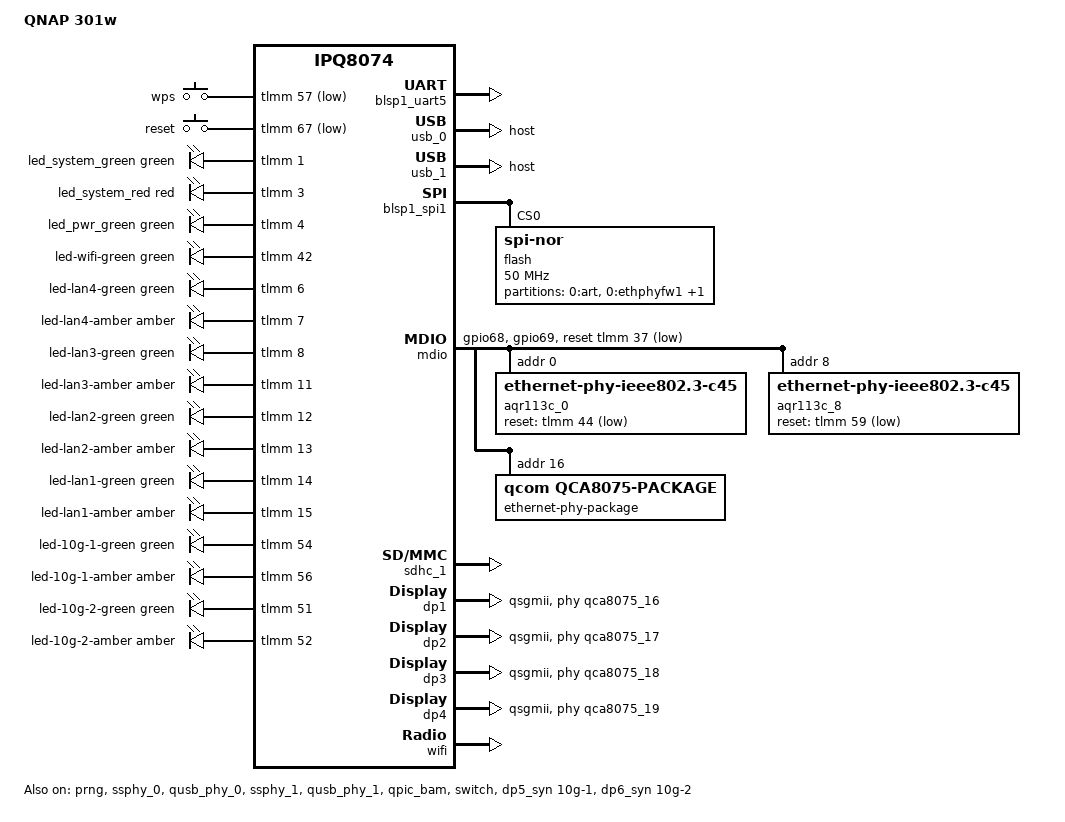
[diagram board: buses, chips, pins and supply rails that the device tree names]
// SPDX-License-Identifier: GPL-2.0-or-later OR MIT
/* Copyright (c) 2021, Dirk Buchwalder <buchwalder@posteo.de> */

/dts-v1/;

#include "ipq8074.dtsi"
#include "ipq8074-ess.dtsi"
#include "ipq8074-nss.dtsi"
#include "ipq8074-common.dtsi"
#include "ipq8074-hk-cpu.dtsi"

#include <dt-bindings/gpio/gpio.h>
#include <dt-bindings/input/input.h>
#include <dt-bindings/leds/common.h>

/ {
	model = "QNAP 301w";
	compatible = "qnap,301w", "qcom,ipq8074";

	aliases {
		ethernet0 = &dp1;
		ethernet1 = &dp2;
		ethernet2 = &dp3;
		ethernet3 = &dp4;
		ethernet4 = &dp5_syn;
		ethernet5 = &dp6_syn;

		label-mac-device = &dp1;
		serial0 = &blsp1_uart5;

		led-boot = &led_system_red;
		led-failsafe = &led_system_red;
		led-running = &led_pwr_green;
		led-upgrade = &led_system_red;
	};

	chosen {
		stdout-path = "serial0:115200n8";
	};

	keys {
		compatible = "gpio-keys";

		wps-button {
			label = "wps";
			gpios = <&tlmm 57 GPIO_ACTIVE_LOW>;
			linux,code = <KEY_WPS_BUTTON>;
		};

		reset-button {
			label = "reset";
			gpios = <&tlmm 67 GPIO_ACTIVE_LOW>;
			linux,code = <KEY_RESTART>;
		};
	};

	leds {
		compatible = "gpio-leds";

		led_system_green: led-system-green {
			gpios = <&tlmm 1 GPIO_ACTIVE_HIGH>;
			color = <LED_COLOR_ID_GREEN>;
			function = LED_FUNCTION_STATUS;
		};

		led_system_red: led-system-red {
			gpios = <&tlmm 3 GPIO_ACTIVE_HIGH>;
			color = <LED_COLOR_ID_RED>;
			function = LED_FUNCTION_STATUS;
		};

		led_pwr_green: led-pwr-green {
			gpios = <&tlmm 4 GPIO_ACTIVE_HIGH>;
			color = <LED_COLOR_ID_GREEN>;
			function = LED_FUNCTION_POWER;
		};

		led-wifi-green {
			gpios = <&tlmm 42 GPIO_ACTIVE_HIGH>;
			color = <LED_COLOR_ID_GREEN>;
			function = LED_FUNCTION_WLAN;
		};

		led-lan4-green {
			gpios = <&tlmm 6 GPIO_ACTIVE_HIGH>;
			color = <LED_COLOR_ID_GREEN>;
			function = LED_FUNCTION_LAN;
			function-enumerator = <4>;
		};

		led-lan4-amber {
			gpios = <&tlmm 7 GPIO_ACTIVE_HIGH>;
			color = <LED_COLOR_ID_AMBER>;
			function = LED_FUNCTION_LAN;
			function-enumerator = <4>;
		};

		led-lan3-green {
			gpios = <&tlmm 8 GPIO_ACTIVE_HIGH>;
			color = <LED_COLOR_ID_GREEN>;
			function = LED_FUNCTION_LAN;
			function-enumerator = <3>;
		};

		led-lan3-amber {
			gpios = <&tlmm 11 GPIO_ACTIVE_HIGH>;
			color = <LED_COLOR_ID_AMBER>;
			function = LED_FUNCTION_LAN;
			function-enumerator = <3>;
		};

		led-lan2-green {
			gpios = <&tlmm 12 GPIO_ACTIVE_HIGH>;
			color = <LED_COLOR_ID_GREEN>;
			function = LED_FUNCTION_LAN;
			function-enumerator = <2>;
		};

		led-lan2-amber {
			gpios = <&tlmm 13 GPIO_ACTIVE_HIGH>;
			color = <LED_COLOR_ID_AMBER>;
			function = LED_FUNCTION_LAN;
			function-enumerator = <2>;
		};

		led-lan1-green {
			gpios = <&tlmm 14 GPIO_ACTIVE_HIGH>;
			color = <LED_COLOR_ID_GREEN>;
			function = LED_FUNCTION_LAN;
			function-enumerator = <1>;
		};

		led-lan1-amber {
			gpios = <&tlmm 15 GPIO_ACTIVE_HIGH>;
			color = <LED_COLOR_ID_AMBER>;
			function = LED_FUNCTION_LAN;
			function-enumerator = <1>;
		};

		led-10g-1-green {
			gpios = <&tlmm 54 GPIO_ACTIVE_HIGH>;
			color = <LED_COLOR_ID_GREEN>;
			function = "10g";
			function-enumerator = <1>;
		};

		led-10g-1-amber {
			gpios = <&tlmm 56 GPIO_ACTIVE_HIGH>;
			color = <LED_COLOR_ID_AMBER>;
			function = "10g";
			function-enumerator = <1>;
		};

		led-10g-2-green {
			gpios = <&tlmm 51 GPIO_ACTIVE_HIGH>;
			color = <LED_COLOR_ID_GREEN>;
			function = "10g";
			function-enumerator = <2>;
		};

		led-10g-2-amber {
			gpios = <&tlmm 52 GPIO_ACTIVE_HIGH>;
			color = <LED_COLOR_ID_AMBER>;
			function = "10g";
			function-enumerator = <2>;
		};
	};
};

&tlmm {

	linksys301w_mdio_pins: mdio-state {
		mdc-pins {
			pins = "gpio68";
			function = "mdc";
			drive-strength = <8>;
			bias-pull-up;
		};

		mdio-pins {
			pins = "gpio69";
			function = "mdio";
			drive-strength = <8>;
			bias-pull-up;
		};
	};

	button_pins: button-state {
		wps-pins {
			pins = "gpio57";
			function = "gpio";
			drive-strength = <8>;
			bias-pull-up;
		};

		rst-pins {
			pins = "gpio67";
			function = "gpio";
			drive-strength = <8>;
			bias-pull-up;
		};
	};

	leds_pins: leds-state {
		pins = "gpio1", "gpio3", "gpio4", "gpio6", "gpio7", "gpio8",
		       "gpio11", "gpio12", "gpio13", "gpio14", "gpio15", "gpio42",
		       "gpio51", "gpio52", "gpio54", "gpio56";
		function = "gpio";
		drive-strength = <8>;
		bias-pull-down;
	};
};

&blsp1_uart5 {
	status = "okay";
};

&prng {
	status = "okay";
};

&ssphy_0 {
	status = "okay";
};

&qusb_phy_0 {
	status = "okay";
};

&ssphy_1 {
	status = "okay";
};

&qusb_phy_1 {
	status = "okay";
};

&usb_0 {
	dr_mode = "host";

	status = "okay";
};

&usb_1 {
	dr_mode = "host";

	status = "okay";
};

&qpic_bam {
	status = "okay";
};

&blsp1_spi1 { /* BLSP1 QUP1 */
	pinctrl-0 = <&spi_0_pins>;
	pinctrl-names = "default";
	status = "okay";

	flash@0 {
		compatible = "jedec,spi-nor";
		spi-max-frequency = <50000000>;
		reg = <0>;

		partitions {
			compatible = "qcom,smem-part";
			qcom,smem-flash-id = <0>;

			partition-0-art {
				label = "0:art";
				read-only;

				nvmem-layout {
					compatible = "fixed-layout";
					#address-cells = <1>;
					#size-cells = <1>;

					macaddr_lan4: macaddr@0 {
						reg = <0x0 0x6>;
					};

					macaddr_lan3: macaddr@6 {
						reg = <0x6 0x6>;
					};

					macaddr_lan2: macaddr@c {
						reg = <0xc 0x6>;
					};

					macaddr_lan1: macaddr@12 {
						reg = <0x12 0x6>;
					};

					macaddr_10g_1: macaddr@18 {
						reg = <0x18 0x6>;
					};

					macaddr_10g_2: macaddr@1e {
						reg = <0x1e 0x6>;
					};
				};
			};

			partition-0-ethphyfw1 {
				label = "0:ethphyfw1";

				nvmem-layout {
					compatible = "fixed-layout";
					#address-cells = <1>;
					#size-cells = <1>;

					aqr0_fw: firmware@0 {
						reg = <0x0 0x5fc02>;
					};
				};
			};

			partition-0-ethphyfw2 {
				label = "0:ethphyfw2";

				nvmem-layout {
					compatible = "fixed-layout";
					#address-cells = <1>;
					#size-cells = <1>;

					aqr1_fw: firmware@0 {
						reg = <0x0 0x5fc02>;
					};
				};
			};
		};
	};
};

&mdio {
	status = "okay";

	pinctrl-0 = <&linksys301w_mdio_pins>;
	pinctrl-names = "default";
	reset-gpios = <&tlmm 37 GPIO_ACTIVE_LOW>;

	aqr113c_0: ethernet-phy@0 {
		compatible ="ethernet-phy-ieee802.3-c45";
		reg = <0>;
		reset-gpios = <&tlmm 44 GPIO_ACTIVE_LOW>;
		reset-assert-us = <100000>;
		reset-deassert-us = <250000>;
		firmware-name = "marvell/AQR-G4_v5.4.C-AQR_CIG_WF-1945_0x0_ID44778_VER1630.cld";
		nvmem-cell-names = "firmware";
		nvmem-cells = <&aqr0_fw>;
	};

	aqr113c_8: ethernet-phy@8 {
		compatible ="ethernet-phy-ieee802.3-c45";
		reg = <8>;
		reset-gpios = <&tlmm 59 GPIO_ACTIVE_LOW>;
		reset-assert-us = <100000>;
		reset-deassert-us = <250000>;
		firmware-name = "marvell/AQR-G4_v5.4.C-AQR_CIG_WF-1945_0x8_ID44776_VER1630.cld";
		nvmem-cell-names = "firmware";
		nvmem-cells = <&aqr1_fw>;
	};

	ethernet-phy-package@16 {
		compatible = "qcom,qca8075-package";
		qcom,package-mode = "qsgmii";
		#address-cells = <1>;
		#size-cells = <0>;
		reg = <16>;

		qca8075_16: ethernet-phy@16 {
			compatible = "ethernet-phy-ieee802.3-c22";
			reg = <16>;
		};

		qca8075_17: ethernet-phy@17 {
			compatible = "ethernet-phy-ieee802.3-c22";
			reg = <17>;
		};

		qca8075_18: ethernet-phy@18 {
			compatible = "ethernet-phy-ieee802.3-c22";
			reg = <18>;
		};

		qca8075_19: ethernet-phy@19 {
			compatible = "ethernet-phy-ieee802.3-c22";
			reg = <19>;
		};
	};
};

&sdhc_1 {
	status = "okay";

	/* According to the stock dts from the QNAP gpl drop
	 * the emmc has a problem with the hs400 > hs200 speed switch.
	 * Therefore remove the mmc-hs400-1_8v property
	*/
	/delete-property/ mmc-hs400-1_8v;
	mmc-hs200-1_8v;
	mmc-ddr-1_8v;
	vqmmc-supply = <&l11>;
};

&switch {
	status = "okay";

	switch_lan_bmp = <(ESS_PORT1 | ESS_PORT2 | ESS_PORT3 | ESS_PORT4 | ESS_PORT6)>; /* lan port bitmap */
	switch_wan_bmp = <ESS_PORT5>; /* wan port bitmap */
	switch_mac_mode = <MAC_MODE_QSGMII>; /* mac mode for uniphy instance0*/
	switch_mac_mode1 = <MAC_MODE_USXGMII>; /* mac mode for uniphy instance1*/
	switch_mac_mode2 = <MAC_MODE_USXGMII>; /* mac mode for uniphy instance2*/

	qcom,port_phyinfo {
		port@0 {
			port_id = <1>;
			phy_address = <16>;
		};

		port@1 {
			port_id = <2>;
			phy_address = <17>;
		};

		port@2 {
			port_id = <3>;
			phy_address = <18>;
		};

		port@3 {
			port_id = <4>;
			phy_address = <19>;
		};

		port@4 {
			port_id = <5>;
			phy_address = <8>;
			compatible = "ethernet-phy-ieee802.3-c45";
			ethernet-phy-ieee802.3-c45;
		};

		port@5 {
			port_id = <6>;
			phy_address = <0>;
			compatible = "ethernet-phy-ieee802.3-c45";
			ethernet-phy-ieee802.3-c45;
		};
	};
};

&edma {
	status = "okay";
};

&dp1 {
	status = "okay";
	phy-mode = "qsgmii";
	phy-handle = <&qca8075_16>;
	label = "lan4";
	nvmem-cells = <&macaddr_lan4>;
	nvmem-cell-names = "mac-address";
};

&dp2 {
	status = "okay";
	phy-mode = "qsgmii";
	phy-handle = <&qca8075_17>;
	label = "lan3";
	nvmem-cells = <&macaddr_lan3>;
	nvmem-cell-names = "mac-address";
};

&dp3 {
	status = "okay";
	phy-mode = "qsgmii";
	phy-handle = <&qca8075_18>;
	label = "lan2";
	nvmem-cells = <&macaddr_lan2>;
	nvmem-cell-names = "mac-address";
};

&dp4 {
	status = "okay";
	phy-mode = "qsgmii";
	phy-handle = <&qca8075_19>;
	label = "lan1";
	nvmem-cells = <&macaddr_lan1>;
	nvmem-cell-names = "mac-address";
};

&dp5_syn {
	status = "okay";
	phy-handle = <&aqr113c_8>;
	label = "10g-1";
	nvmem-cells = <&macaddr_10g_1>;
	nvmem-cell-names = "mac-address";
};

&dp6_syn {
	status = "okay";
	phy-handle = <&aqr113c_0>;
	label = "10g-2";
	nvmem-cells = <&macaddr_10g_2>;
	nvmem-cell-names = "mac-address";
};

&wifi {
	status = "okay";
	qcom,ath11k-fw-memory-mode = <1>;
	qcom,ath11k-calibration-variant = "QNAP-301w";
};
